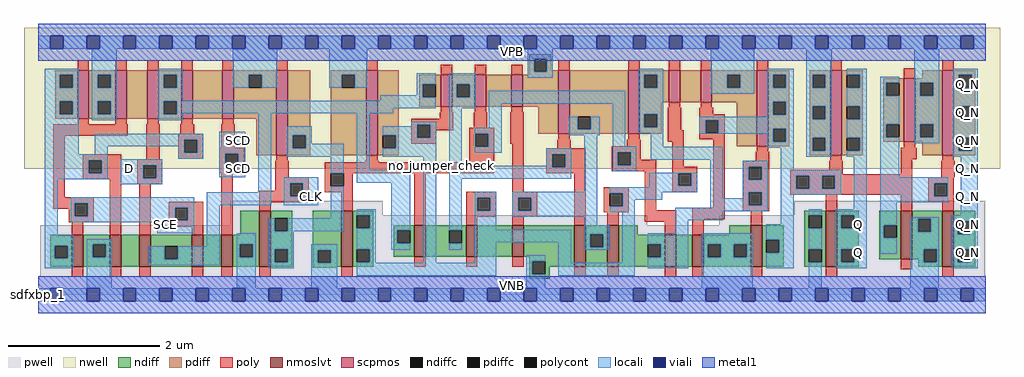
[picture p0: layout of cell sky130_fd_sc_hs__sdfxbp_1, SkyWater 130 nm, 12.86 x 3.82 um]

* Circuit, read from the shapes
.subckt sky130_fd_sc_hs__sdfxbp_1 CLK D SCD SCE VGND VNB VPB VPWR Q Q_N
XM1 VGND SCE n1 VNB sky130_fd_pr__nfet_01v8_lvt w=0.42 l=0.15
XM2 n2 n1 VGND VNB sky130_fd_pr__nfet_01v8_lvt w=0.42 l=0.15
XM3 n3 D n2 VNB sky130_fd_pr__nfet_01v8_lvt w=0.42 l=0.15
XM4 n4 SCE n3 VNB sky130_fd_pr__nfet_01v8_lvt w=0.42 l=0.15
XM5 VGND SCD n4 VNB sky130_fd_pr__nfet_01v8_lvt w=0.42 l=0.15
XM6 n5 CLK VGND VNB sky130_fd_pr__nfet_01v8_lvt w=0.74 l=0.15
XM7 n6 n5 VGND VNB sky130_fd_pr__nfet_01v8_lvt w=0.74 l=0.15
XM8 n7 n5 n3 VNB sky130_fd_pr__nfet_01v8_lvt w=0.42 l=0.15
XM9 n8 n6 n7 VNB sky130_fd_pr__nfet_01v8_lvt w=0.42 l=0.15
XM10 VGND n9 n8 VNB sky130_fd_pr__nfet_01v8_lvt w=0.42 l=0.15
XM11 n9 n7 VGND VNB sky130_fd_pr__nfet_01v8_lvt w=0.55 l=0.15
XM12 n10 n6 n9 VNB sky130_fd_pr__nfet_01v8_lvt w=0.55 l=0.15
XM13 n11 n5 n10 VNB sky130_fd_pr__nfet_01v8_lvt w=0.42 l=0.15
XM14 VGND n12 n11 VNB sky130_fd_pr__nfet_01v8_lvt w=0.42 l=0.15
XM15 n12 n10 VGND VNB sky130_fd_pr__nfet_01v8_lvt w=0.55 l=0.15
XM16 Q n12 VGND VNB sky130_fd_pr__nfet_01v8_lvt w=0.74 l=0.15
XM17 VGND n12 n13 VNB sky130_fd_pr__nfet_01v8_lvt w=0.64 l=0.15
XM18 Q_N n13 VGND VNB sky130_fd_pr__nfet_01v8_lvt w=0.74 l=0.15
XM19 VPWR SCE n1 VPB sky130_fd_pr__pfet_01v8 w=0.64 l=0.15
XM20 n14 SCE VPWR VPB sky130_fd_pr__pfet_01v8 w=0.64 l=0.15
XM21 n3 D n14 VPB sky130_fd_pr__pfet_01v8 w=0.64 l=0.15
XM22 n15 n1 n3 VPB sky130_fd_pr__pfet_01v8 w=0.64 l=0.15
XM23 VPWR SCD n15 VPB sky130_fd_pr__pfet_01v8 w=0.64 l=0.15
XM24 n5 CLK VPWR VPB sky130_fd_pr__pfet_01v8 w=1.12 l=0.15
XM25 n6 n5 VPWR VPB sky130_fd_pr__pfet_01v8 w=1.12 l=0.15
XM26 n7 n6 n3 VPB sky130_fd_pr__pfet_01v8 w=0.42 l=0.15
XM27 n16 n5 n7 VPB sky130_fd_pr__pfet_01v8 w=0.42 l=0.15
XM28 VPWR n9 n16 VPB sky130_fd_pr__pfet_01v8 w=0.42 l=0.15
XM29 n9 n7 VPWR VPB sky130_fd_pr__pfet_01v8 w=0.84 l=0.15
XM30 n10 n5 n9 VPB sky130_fd_pr__pfet_01v8 w=0.84 l=0.15
XM31 n17 n6 n10 VPB sky130_fd_pr__pfet_01v8 w=0.42 l=0.15
XM32 VPWR n12 n17 VPB sky130_fd_pr__pfet_01v8 w=0.42 l=0.15
XM33 n12 n10 VPWR VPB sky130_fd_pr__pfet_01v8 w=1 l=0.15
XM34 Q n12 VPWR VPB sky130_fd_pr__pfet_01v8 w=1.12 l=0.15
XM35 VPWR n12 n13 VPB sky130_fd_pr__pfet_01v8 w=0.84 l=0.15
XM36 Q_N n13 VPWR VPB sky130_fd_pr__pfet_01v8 w=1.12 l=0.15
.ends

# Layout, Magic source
magic
tech sky130A
magscale 1 2
<< nwell >>
rect -38 332 2534 704
<< pwell >>
rect 506 210 908 248
rect 1992 210 2495 248
rect 506 184 1605 210
rect 1794 184 2495 210
rect 5 49 2495 184
rect 0 0 2496 49
<< scpmos >>
rect 103 464 133 592
rect 203 464 233 592
rect 287 464 317 592
rect 377 464 407 592
rect 485 464 515 592
rect 627 368 657 592
rect 864 368 894 592
rect 1060 496 1090 580
rect 1150 496 1180 580
rect 1246 496 1276 580
rect 1370 424 1400 592
rect 1554 424 1584 592
rect 1661 508 1691 592
rect 1745 508 1775 592
rect 1893 392 1923 592
rect 2087 368 2117 592
rect 2281 403 2311 571
rect 2382 368 2412 592
<< nmoslvt >>
rect 88 74 118 158
rect 188 74 218 158
rect 266 74 296 158
rect 404 74 434 158
rect 482 74 512 158
rect 582 74 612 222
rect 798 74 828 222
rect 991 100 1021 184
rect 1127 100 1157 184
rect 1249 100 1279 184
rect 1412 74 1442 184
rect 1499 74 1529 184
rect 1651 74 1681 158
rect 1723 74 1753 158
rect 1877 74 1907 184
rect 2075 74 2105 222
rect 2273 94 2303 222
rect 2382 74 2412 222
<< ndiff >>
rect 532 158 582 222
rect 31 130 88 158
rect 31 96 43 130
rect 77 96 88 130
rect 31 74 88 96
rect 118 133 188 158
rect 118 99 143 133
rect 177 99 188 133
rect 118 74 188 99
rect 218 74 266 158
rect 296 128 404 158
rect 296 94 333 128
rect 367 94 404 128
rect 296 74 404 94
rect 434 74 482 158
rect 512 133 582 158
rect 512 99 531 133
rect 565 99 582 133
rect 512 74 582 99
rect 612 202 669 222
rect 612 168 623 202
rect 657 168 669 202
rect 612 120 669 168
rect 612 86 623 120
rect 657 86 669 120
rect 612 74 669 86
rect 723 118 798 222
rect 723 84 736 118
rect 770 84 798 118
rect 723 74 798 84
rect 828 210 882 222
rect 828 176 839 210
rect 873 176 882 210
rect 828 120 882 176
rect 828 86 839 120
rect 873 86 882 120
rect 936 170 991 184
rect 936 136 946 170
rect 980 136 991 170
rect 936 100 991 136
rect 1021 170 1127 184
rect 1021 136 1082 170
rect 1116 136 1127 170
rect 1021 100 1127 136
rect 1157 100 1249 184
rect 1279 100 1412 184
rect 828 74 882 86
rect 1294 88 1412 100
rect 723 72 783 74
rect 1294 54 1302 88
rect 1336 74 1412 88
rect 1442 160 1499 184
rect 1442 126 1454 160
rect 1488 126 1499 160
rect 1442 74 1499 126
rect 1529 158 1579 184
rect 2018 210 2075 222
rect 1820 158 1877 184
rect 1529 133 1651 158
rect 1529 99 1606 133
rect 1640 99 1651 133
rect 1529 74 1651 99
rect 1681 74 1723 158
rect 1753 133 1877 158
rect 1753 99 1764 133
rect 1798 99 1832 133
rect 1866 99 1877 133
rect 1753 74 1877 99
rect 1907 145 1964 184
rect 1907 111 1918 145
rect 1952 111 1964 145
rect 1907 74 1964 111
rect 2018 176 2030 210
rect 2064 176 2075 210
rect 2018 120 2075 176
rect 2018 86 2030 120
rect 2064 86 2075 120
rect 2018 74 2075 86
rect 2105 210 2162 222
rect 2105 176 2116 210
rect 2150 176 2162 210
rect 2105 120 2162 176
rect 2105 86 2116 120
rect 2150 86 2162 120
rect 2216 184 2273 222
rect 2216 150 2228 184
rect 2262 150 2273 184
rect 2216 94 2273 150
rect 2303 200 2382 222
rect 2303 166 2318 200
rect 2352 166 2382 200
rect 2303 120 2382 166
rect 2303 94 2333 120
rect 2105 74 2162 86
rect 1336 54 1348 74
rect 1294 42 1348 54
rect 2318 86 2333 94
rect 2367 86 2382 120
rect 2318 74 2382 86
rect 2412 194 2469 222
rect 2412 160 2423 194
rect 2457 160 2469 194
rect 2412 120 2469 160
rect 2412 86 2423 120
rect 2457 86 2469 120
rect 2412 74 2469 86
<< pdiff >>
rect 1294 622 1352 634
rect 44 580 103 592
rect 44 546 56 580
rect 90 546 103 580
rect 44 510 103 546
rect 44 476 56 510
rect 90 476 103 510
rect 44 464 103 476
rect 133 580 203 592
rect 133 546 156 580
rect 190 546 203 580
rect 133 510 203 546
rect 133 476 156 510
rect 190 476 203 510
rect 133 464 203 476
rect 233 464 287 592
rect 317 580 377 592
rect 317 546 330 580
rect 364 546 377 580
rect 317 510 377 546
rect 317 476 330 510
rect 364 476 377 510
rect 317 464 377 476
rect 407 464 485 592
rect 515 580 627 592
rect 515 546 554 580
rect 588 546 627 580
rect 515 464 627 546
rect 574 368 627 464
rect 657 421 716 592
rect 657 387 670 421
rect 704 387 716 421
rect 657 368 716 387
rect 770 580 864 592
rect 770 546 799 580
rect 833 546 864 580
rect 770 368 864 546
rect 894 421 950 592
rect 1294 588 1306 622
rect 1340 592 1352 622
rect 1340 588 1370 592
rect 1294 580 1370 588
rect 1004 555 1060 580
rect 1004 521 1013 555
rect 1047 521 1060 555
rect 1004 496 1060 521
rect 1090 555 1150 580
rect 1090 521 1103 555
rect 1137 521 1150 555
rect 1090 496 1150 521
rect 1180 496 1246 580
rect 1276 496 1370 580
rect 894 387 907 421
rect 941 387 950 421
rect 894 368 950 387
rect 1317 424 1370 496
rect 1400 470 1554 592
rect 1400 436 1421 470
rect 1455 436 1554 470
rect 1400 424 1554 436
rect 1584 580 1661 592
rect 1584 546 1597 580
rect 1631 546 1661 580
rect 1584 508 1661 546
rect 1691 508 1745 592
rect 1775 580 1893 592
rect 1775 546 1815 580
rect 1849 546 1893 580
rect 1775 508 1893 546
rect 1584 476 1643 508
rect 1584 442 1597 476
rect 1631 442 1643 476
rect 1584 424 1643 442
rect 1840 392 1893 508
rect 1923 580 1978 592
rect 1923 546 1936 580
rect 1970 546 1978 580
rect 1923 509 1978 546
rect 1923 475 1936 509
rect 1970 475 1978 509
rect 1923 438 1978 475
rect 1923 404 1936 438
rect 1970 404 1978 438
rect 1923 392 1978 404
rect 2032 580 2087 592
rect 2032 546 2040 580
rect 2074 546 2087 580
rect 2032 497 2087 546
rect 2032 463 2040 497
rect 2074 463 2087 497
rect 2032 414 2087 463
rect 2032 380 2040 414
rect 2074 380 2087 414
rect 2032 368 2087 380
rect 2117 580 2172 592
rect 2117 546 2130 580
rect 2164 546 2172 580
rect 2329 571 2382 592
rect 2117 497 2172 546
rect 2117 463 2130 497
rect 2164 463 2172 497
rect 2117 414 2172 463
rect 2117 380 2130 414
rect 2164 380 2172 414
rect 2226 559 2281 571
rect 2226 525 2234 559
rect 2268 525 2281 559
rect 2226 449 2281 525
rect 2226 415 2234 449
rect 2268 415 2281 449
rect 2226 403 2281 415
rect 2311 559 2382 571
rect 2311 525 2324 559
rect 2358 525 2382 559
rect 2311 449 2382 525
rect 2311 415 2324 449
rect 2358 415 2382 449
rect 2311 403 2382 415
rect 2117 368 2172 380
rect 2329 368 2382 403
rect 2412 580 2469 592
rect 2412 546 2425 580
rect 2459 546 2469 580
rect 2412 497 2469 546
rect 2412 463 2425 497
rect 2459 463 2469 497
rect 2412 414 2469 463
rect 2412 380 2425 414
rect 2459 380 2469 414
rect 2412 368 2469 380
<< ndiffc >>
rect 43 96 77 130
rect 143 99 177 133
rect 333 94 367 128
rect 531 99 565 133
rect 623 168 657 202
rect 623 86 657 120
rect 736 84 770 118
rect 839 176 873 210
rect 839 86 873 120
rect 946 136 980 170
rect 1082 136 1116 170
rect 1302 54 1336 88
rect 1454 126 1488 160
rect 1606 99 1640 133
rect 1764 99 1798 133
rect 1832 99 1866 133
rect 1918 111 1952 145
rect 2030 176 2064 210
rect 2030 86 2064 120
rect 2116 176 2150 210
rect 2116 86 2150 120
rect 2228 150 2262 184
rect 2318 166 2352 200
rect 2333 86 2367 120
rect 2423 160 2457 194
rect 2423 86 2457 120
<< pdiffc >>
rect 56 546 90 580
rect 56 476 90 510
rect 156 546 190 580
rect 156 476 190 510
rect 330 546 364 580
rect 330 476 364 510
rect 554 546 588 580
rect 670 387 704 421
rect 799 546 833 580
rect 1306 588 1340 622
rect 1013 521 1047 555
rect 1103 521 1137 555
rect 907 387 941 421
rect 1421 436 1455 470
rect 1597 546 1631 580
rect 1815 546 1849 580
rect 1597 442 1631 476
rect 1936 546 1970 580
rect 1936 475 1970 509
rect 1936 404 1970 438
rect 2040 546 2074 580
rect 2040 463 2074 497
rect 2040 380 2074 414
rect 2130 546 2164 580
rect 2130 463 2164 497
rect 2130 380 2164 414
rect 2234 525 2268 559
rect 2234 415 2268 449
rect 2324 525 2358 559
rect 2324 415 2358 449
rect 2425 546 2459 580
rect 2425 463 2459 497
rect 2425 380 2459 414
<< poly >>
rect 103 592 133 618
rect 203 592 233 618
rect 287 592 317 618
rect 377 592 407 618
rect 485 592 515 618
rect 627 592 657 618
rect 864 592 894 618
rect 103 449 133 464
rect 203 449 233 464
rect 287 449 317 464
rect 377 449 407 464
rect 485 449 515 464
rect 39 419 236 449
rect 39 257 69 419
rect 117 355 218 371
rect 284 357 320 449
rect 374 425 410 449
rect 368 409 434 425
rect 368 375 384 409
rect 418 375 434 409
rect 482 388 518 449
rect 368 359 434 375
rect 476 372 542 388
rect 117 321 133 355
rect 167 321 218 355
rect 117 305 218 321
rect 39 241 146 257
rect 39 227 96 241
rect 80 207 96 227
rect 130 207 146 241
rect 80 191 146 207
rect 88 158 118 191
rect 188 158 218 305
rect 260 341 326 357
rect 260 307 276 341
rect 310 307 326 341
rect 476 338 492 372
rect 526 338 542 372
rect 1060 580 1090 606
rect 1150 580 1180 606
rect 1246 580 1276 606
rect 1370 592 1400 618
rect 1554 592 1584 618
rect 1661 592 1691 618
rect 1745 592 1775 618
rect 1893 592 1923 618
rect 2087 592 2117 618
rect 1060 481 1090 496
rect 1150 481 1180 496
rect 1246 481 1276 496
rect 1057 464 1093 481
rect 982 448 1093 464
rect 982 414 998 448
rect 1032 434 1093 448
rect 1147 440 1183 481
rect 1032 414 1048 434
rect 982 398 1048 414
rect 1135 424 1201 440
rect 1135 390 1151 424
rect 1185 390 1201 424
rect 1243 398 1279 481
rect 1661 493 1691 508
rect 1745 493 1775 508
rect 1658 434 1694 493
rect 1742 476 1778 493
rect 1742 460 1808 476
rect 1370 409 1400 424
rect 1554 409 1584 424
rect 627 353 657 368
rect 864 353 894 368
rect 476 322 542 338
rect 260 291 326 307
rect 266 158 296 291
rect 344 230 434 246
rect 344 196 360 230
rect 394 196 434 230
rect 344 180 434 196
rect 404 158 434 180
rect 482 158 512 322
rect 624 310 660 353
rect 861 350 897 353
rect 1135 350 1201 390
rect 755 320 1201 350
rect 624 294 713 310
rect 624 274 663 294
rect 582 260 663 274
rect 697 260 713 294
rect 755 286 771 320
rect 805 286 828 320
rect 755 270 828 286
rect 582 244 713 260
rect 582 222 612 244
rect 798 222 828 270
rect 991 184 1021 320
rect 1249 272 1279 398
rect 1367 386 1403 409
rect 1551 392 1587 409
rect 1658 404 1700 434
rect 1742 426 1758 460
rect 1792 426 1808 460
rect 1742 410 1808 426
rect 1338 370 1442 386
rect 1338 336 1354 370
rect 1388 336 1442 370
rect 1338 320 1442 336
rect 1511 376 1587 392
rect 1511 342 1527 376
rect 1561 356 1587 376
rect 1561 342 1628 356
rect 1511 326 1628 342
rect 1127 256 1207 272
rect 1127 222 1157 256
rect 1191 222 1207 256
rect 1127 206 1207 222
rect 1249 256 1315 272
rect 1249 222 1265 256
rect 1299 222 1315 256
rect 1249 206 1315 222
rect 1127 184 1157 206
rect 1249 184 1279 206
rect 1412 184 1442 320
rect 1490 268 1556 284
rect 1490 234 1506 268
rect 1540 234 1556 268
rect 1490 218 1556 234
rect 1598 223 1628 326
rect 1670 337 1700 404
rect 1670 321 1736 337
rect 1670 287 1686 321
rect 1720 287 1736 321
rect 1670 271 1736 287
rect 1778 229 1808 410
rect 1893 377 1923 392
rect 1890 354 1926 377
rect 2281 571 2311 597
rect 2382 592 2412 618
rect 2281 388 2311 403
rect 1499 184 1529 218
rect 1598 193 1681 223
rect 991 74 1021 100
rect 1127 74 1157 100
rect 1249 74 1279 100
rect 88 48 118 74
rect 188 48 218 74
rect 266 48 296 74
rect 404 48 434 74
rect 482 48 512 74
rect 582 48 612 74
rect 798 48 828 74
rect 1651 158 1681 193
rect 1723 199 1808 229
rect 1856 338 1926 354
rect 2087 353 2117 368
rect 2273 358 2314 388
rect 1856 304 1872 338
rect 1906 304 1926 338
rect 2084 330 2120 353
rect 1856 270 1926 304
rect 1856 236 1872 270
rect 1906 236 1926 270
rect 1981 318 2120 330
rect 2273 318 2303 358
rect 2382 353 2412 368
rect 1981 314 2303 318
rect 1981 280 1997 314
rect 2031 280 2065 314
rect 2099 280 2303 314
rect 2379 310 2415 353
rect 1981 264 2303 280
rect 1856 220 1926 236
rect 2075 222 2105 264
rect 2273 222 2303 264
rect 2345 294 2412 310
rect 2345 260 2361 294
rect 2395 260 2412 294
rect 2345 244 2412 260
rect 2382 222 2412 244
rect 1723 158 1753 199
rect 1877 184 1907 220
rect 1412 48 1442 74
rect 1499 48 1529 74
rect 1651 48 1681 74
rect 1723 48 1753 74
rect 1877 48 1907 74
rect 2075 48 2105 74
rect 2273 68 2303 94
rect 2382 48 2412 74
<< polycont >>
rect 384 375 418 409
rect 133 321 167 355
rect 96 207 130 241
rect 276 307 310 341
rect 492 338 526 372
rect 998 414 1032 448
rect 1151 390 1185 424
rect 360 196 394 230
rect 663 260 697 294
rect 771 286 805 320
rect 1758 426 1792 460
rect 1354 336 1388 370
rect 1527 342 1561 376
rect 1157 222 1191 256
rect 1265 222 1299 256
rect 1506 234 1540 268
rect 1686 287 1720 321
rect 1872 304 1906 338
rect 1872 236 1906 270
rect 1997 280 2031 314
rect 2065 280 2099 314
rect 2361 260 2395 294
<< locali >>
rect 0 649 31 683
rect 65 649 127 683
rect 161 649 223 683
rect 257 649 319 683
rect 353 649 415 683
rect 449 649 511 683
rect 545 649 607 683
rect 641 649 703 683
rect 737 649 799 683
rect 833 649 895 683
rect 929 649 991 683
rect 1025 649 1087 683
rect 1121 649 1183 683
rect 1217 649 1279 683
rect 1313 649 1375 683
rect 1409 649 1471 683
rect 1505 649 1567 683
rect 1601 649 1663 683
rect 1697 649 1759 683
rect 1793 649 1855 683
rect 1889 649 1951 683
rect 1985 649 2047 683
rect 2081 649 2143 683
rect 2177 649 2239 683
rect 2273 649 2335 683
rect 2369 649 2431 683
rect 2465 649 2496 683
rect 17 580 106 596
rect 17 546 56 580
rect 90 546 106 580
rect 17 510 106 546
rect 17 476 56 510
rect 90 476 106 510
rect 17 371 106 476
rect 140 580 206 649
rect 140 546 156 580
rect 190 546 206 580
rect 140 510 206 546
rect 140 476 156 510
rect 190 476 206 510
rect 140 460 206 476
rect 314 580 380 596
rect 314 546 330 580
rect 364 546 380 580
rect 512 580 630 649
rect 512 546 554 580
rect 588 546 630 580
rect 766 580 867 649
rect 1290 622 1356 649
rect 1290 588 1306 622
rect 1340 588 1356 622
rect 766 546 799 580
rect 833 546 867 580
rect 997 555 1047 584
rect 314 512 380 546
rect 997 526 1013 555
rect 901 521 1013 526
rect 901 512 1047 521
rect 314 510 1047 512
rect 314 476 330 510
rect 364 492 1047 510
rect 1082 555 1153 584
rect 1290 572 1356 588
rect 1581 580 1647 596
rect 1082 521 1103 555
rect 1137 521 1153 555
rect 1581 546 1597 580
rect 1631 546 1647 580
rect 1082 492 1153 521
rect 1187 504 1547 538
rect 364 478 935 492
rect 364 476 380 478
rect 314 460 380 476
rect 149 409 434 425
rect 149 391 384 409
rect 149 371 183 391
rect 17 355 183 371
rect 368 375 384 391
rect 418 375 434 409
rect 368 359 434 375
rect 476 372 545 430
rect 17 321 133 355
rect 167 321 183 355
rect 17 305 183 321
rect 217 341 326 357
rect 217 307 276 341
rect 310 307 326 341
rect 476 338 492 372
rect 526 338 545 372
rect 476 310 545 338
rect 17 157 51 305
rect 217 291 326 307
rect 579 270 613 478
rect 654 421 720 444
rect 654 387 670 421
rect 704 398 720 421
rect 704 387 805 398
rect 654 364 805 387
rect 771 320 805 364
rect 85 241 410 257
rect 85 207 96 241
rect 130 230 410 241
rect 130 207 360 230
rect 85 196 360 207
rect 394 196 410 230
rect 85 191 410 196
rect 313 162 410 191
rect 444 236 613 270
rect 647 294 737 310
rect 647 260 663 294
rect 697 260 737 294
rect 647 236 737 260
rect 839 330 873 478
rect 982 448 1048 456
rect 982 444 998 448
rect 907 421 998 444
rect 941 414 998 421
rect 1032 414 1048 448
rect 941 387 1048 414
rect 907 364 1048 387
rect 839 296 980 330
rect 17 130 93 157
rect 17 96 43 130
rect 77 96 93 130
rect 17 70 93 96
rect 127 133 193 146
rect 127 99 143 133
rect 177 99 193 133
rect 444 128 478 236
rect 771 202 805 286
rect 607 168 623 202
rect 657 168 805 202
rect 839 210 889 226
rect 873 176 889 210
rect 127 17 193 99
rect 291 94 333 128
rect 367 94 478 128
rect 291 78 478 94
rect 523 133 573 162
rect 523 99 531 133
rect 565 99 573 133
rect 523 17 573 99
rect 607 120 673 168
rect 607 86 623 120
rect 657 86 673 120
rect 607 70 673 86
rect 719 118 787 134
rect 719 84 736 118
rect 770 84 787 118
rect 719 17 787 84
rect 839 120 889 176
rect 873 86 889 120
rect 930 170 980 296
rect 930 136 946 170
rect 930 119 980 136
rect 839 85 889 86
rect 1014 85 1048 364
rect 1082 340 1116 492
rect 1187 440 1221 504
rect 1150 424 1221 440
rect 1150 390 1151 424
rect 1185 390 1221 424
rect 1397 436 1421 470
rect 1455 436 1479 470
rect 1397 420 1479 436
rect 1150 374 1221 390
rect 1338 370 1404 386
rect 1338 340 1354 370
rect 1082 336 1354 340
rect 1388 336 1404 370
rect 1082 306 1404 336
rect 1082 170 1116 306
rect 1438 272 1472 420
rect 1513 392 1547 504
rect 1581 476 1647 546
rect 1772 580 1886 649
rect 1772 546 1815 580
rect 1849 546 1886 580
rect 1772 530 1886 546
rect 1920 580 1990 596
rect 1920 546 1936 580
rect 1970 546 1990 580
rect 1581 442 1597 476
rect 1631 442 1647 476
rect 1920 509 1990 546
rect 1920 475 1936 509
rect 1970 475 1990 509
rect 1920 470 1990 475
rect 1581 426 1647 442
rect 1513 376 1576 392
rect 1513 342 1527 376
rect 1561 342 1576 376
rect 1613 390 1647 426
rect 1742 460 1990 470
rect 1742 426 1758 460
rect 1792 438 1990 460
rect 1792 426 1936 438
rect 1742 424 1936 426
rect 1920 404 1936 424
rect 1970 404 1990 438
rect 1613 356 1804 390
rect 1920 388 1990 404
rect 1513 326 1576 342
rect 1610 321 1736 322
rect 1610 287 1686 321
rect 1720 287 1736 321
rect 1610 284 1736 287
rect 1082 119 1116 136
rect 1150 256 1207 272
rect 1150 222 1157 256
rect 1191 222 1207 256
rect 1150 172 1207 222
rect 1249 256 1472 272
rect 1249 222 1265 256
rect 1299 222 1472 256
rect 1249 206 1472 222
rect 1506 271 1736 284
rect 1506 268 1644 271
rect 1540 250 1644 268
rect 1770 254 1804 356
rect 1856 338 1922 354
rect 1856 304 1872 338
rect 1906 304 1922 338
rect 1856 270 1922 304
rect 1856 254 1872 270
rect 1540 234 1572 250
rect 1506 218 1572 234
rect 1770 236 1872 254
rect 1906 236 1922 270
rect 1770 230 1922 236
rect 1438 184 1472 206
rect 1150 138 1404 172
rect 1150 85 1207 138
rect 839 51 1207 85
rect 1286 88 1336 104
rect 1286 54 1302 88
rect 1286 17 1336 54
rect 1370 85 1404 138
rect 1438 160 1504 184
rect 1438 126 1454 160
rect 1488 126 1504 160
rect 1438 119 1504 126
rect 1538 85 1572 218
rect 1678 220 1922 230
rect 1956 330 1990 388
rect 2024 580 2090 649
rect 2024 546 2040 580
rect 2074 546 2090 580
rect 2024 497 2090 546
rect 2024 463 2040 497
rect 2074 463 2090 497
rect 2024 414 2090 463
rect 2024 380 2040 414
rect 2074 380 2090 414
rect 2024 364 2090 380
rect 2130 580 2183 596
rect 2164 546 2183 580
rect 2130 497 2183 546
rect 2164 463 2183 497
rect 2130 414 2183 463
rect 2164 380 2183 414
rect 2130 364 2183 380
rect 1956 314 2115 330
rect 1956 280 1997 314
rect 2031 280 2065 314
rect 2099 280 2115 314
rect 1956 264 2115 280
rect 1678 196 1804 220
rect 1678 162 1712 196
rect 1956 186 1990 264
rect 2149 226 2183 364
rect 1370 51 1572 85
rect 1606 133 1712 162
rect 1640 99 1712 133
rect 1606 70 1712 99
rect 1748 133 1882 162
rect 1748 99 1764 133
rect 1798 99 1832 133
rect 1866 99 1882 133
rect 1748 17 1882 99
rect 1918 145 1990 186
rect 1952 111 1990 145
rect 1918 70 1990 111
rect 2030 210 2064 226
rect 2030 120 2064 176
rect 2030 17 2064 86
rect 2100 210 2183 226
rect 2100 176 2116 210
rect 2150 176 2183 210
rect 2100 120 2183 176
rect 2100 86 2116 120
rect 2150 86 2183 120
rect 2218 559 2268 575
rect 2218 525 2234 559
rect 2218 449 2268 525
rect 2218 415 2234 449
rect 2218 310 2268 415
rect 2308 559 2374 649
rect 2308 525 2324 559
rect 2358 525 2374 559
rect 2308 449 2374 525
rect 2308 415 2324 449
rect 2358 415 2374 449
rect 2308 399 2374 415
rect 2409 580 2475 596
rect 2409 546 2425 580
rect 2459 546 2475 580
rect 2409 497 2475 546
rect 2409 463 2425 497
rect 2459 463 2475 497
rect 2409 414 2475 463
rect 2409 380 2425 414
rect 2459 380 2475 414
rect 2409 364 2475 380
rect 2218 294 2397 310
rect 2218 260 2361 294
rect 2395 260 2397 294
rect 2218 244 2397 260
rect 2218 184 2262 244
rect 2431 210 2475 364
rect 2218 150 2228 184
rect 2218 108 2262 150
rect 2298 200 2373 204
rect 2298 166 2318 200
rect 2352 166 2373 200
rect 2298 120 2373 166
rect 2100 70 2183 86
rect 2298 86 2333 120
rect 2367 86 2373 120
rect 2298 17 2373 86
rect 2407 194 2475 210
rect 2407 160 2423 194
rect 2457 160 2475 194
rect 2407 120 2475 160
rect 2407 86 2423 120
rect 2457 86 2475 120
rect 2407 70 2475 86
rect 0 -17 31 17
rect 65 -17 127 17
rect 161 -17 223 17
rect 257 -17 319 17
rect 353 -17 415 17
rect 449 -17 511 17
rect 545 -17 607 17
rect 641 -17 703 17
rect 737 -17 799 17
rect 833 -17 895 17
rect 929 -17 991 17
rect 1025 -17 1087 17
rect 1121 -17 1183 17
rect 1217 -17 1279 17
rect 1313 -17 1375 17
rect 1409 -17 1471 17
rect 1505 -17 1567 17
rect 1601 -17 1663 17
rect 1697 -17 1759 17
rect 1793 -17 1855 17
rect 1889 -17 1951 17
rect 1985 -17 2047 17
rect 2081 -17 2143 17
rect 2177 -17 2239 17
rect 2273 -17 2335 17
rect 2369 -17 2431 17
rect 2465 -17 2496 17
<< viali >>
rect 31 649 65 683
rect 127 649 161 683
rect 223 649 257 683
rect 319 649 353 683
rect 415 649 449 683
rect 511 649 545 683
rect 607 649 641 683
rect 703 649 737 683
rect 799 649 833 683
rect 895 649 929 683
rect 991 649 1025 683
rect 1087 649 1121 683
rect 1183 649 1217 683
rect 1279 649 1313 683
rect 1375 649 1409 683
rect 1471 649 1505 683
rect 1567 649 1601 683
rect 1663 649 1697 683
rect 1759 649 1793 683
rect 1855 649 1889 683
rect 1951 649 1985 683
rect 2047 649 2081 683
rect 2143 649 2177 683
rect 2239 649 2273 683
rect 2335 649 2369 683
rect 2431 649 2465 683
rect 31 -17 65 17
rect 127 -17 161 17
rect 223 -17 257 17
rect 319 -17 353 17
rect 415 -17 449 17
rect 511 -17 545 17
rect 607 -17 641 17
rect 703 -17 737 17
rect 799 -17 833 17
rect 895 -17 929 17
rect 991 -17 1025 17
rect 1087 -17 1121 17
rect 1183 -17 1217 17
rect 1279 -17 1313 17
rect 1375 -17 1409 17
rect 1471 -17 1505 17
rect 1567 -17 1601 17
rect 1663 -17 1697 17
rect 1759 -17 1793 17
rect 1855 -17 1889 17
rect 1951 -17 1985 17
rect 2047 -17 2081 17
rect 2143 -17 2177 17
rect 2239 -17 2273 17
rect 2335 -17 2369 17
rect 2431 -17 2465 17
<< metal1 >>
rect 0 683 2496 715
rect 0 649 31 683
rect 65 649 127 683
rect 161 649 223 683
rect 257 649 319 683
rect 353 649 415 683
rect 449 649 511 683
rect 545 649 607 683
rect 641 649 703 683
rect 737 649 799 683
rect 833 649 895 683
rect 929 649 991 683
rect 1025 649 1087 683
rect 1121 649 1183 683
rect 1217 649 1279 683
rect 1313 649 1375 683
rect 1409 649 1471 683
rect 1505 649 1567 683
rect 1601 649 1663 683
rect 1697 649 1759 683
rect 1793 649 1855 683
rect 1889 649 1951 683
rect 1985 649 2047 683
rect 2081 649 2143 683
rect 2177 649 2239 683
rect 2273 649 2335 683
rect 2369 649 2431 683
rect 2465 649 2496 683
rect 0 617 2496 649
rect 0 17 2496 49
rect 0 -17 31 17
rect 65 -17 127 17
rect 161 -17 223 17
rect 257 -17 319 17
rect 353 -17 415 17
rect 449 -17 511 17
rect 545 -17 607 17
rect 641 -17 703 17
rect 737 -17 799 17
rect 833 -17 895 17
rect 929 -17 991 17
rect 1025 -17 1087 17
rect 1121 -17 1183 17
rect 1217 -17 1279 17
rect 1313 -17 1375 17
rect 1409 -17 1471 17
rect 1505 -17 1567 17
rect 1601 -17 1663 17
rect 1697 -17 1759 17
rect 1793 -17 1855 17
rect 1889 -17 1951 17
rect 1985 -17 2047 17
rect 2081 -17 2143 17
rect 2177 -17 2239 17
rect 2273 -17 2335 17
rect 2369 -17 2431 17
rect 2465 -17 2496 17
rect 0 -49 2496 -17
<< labels >>
rlabel comment s 0 0 0 0 4 sdfxbp_1
flabel comment s 1061 341 1061 341 0 FreeSans 200 0 0 0 no_jumper_check
flabel pwell s 0 0 2496 49 0 FreeSans 200 0 0 0 VNB
port 6 nsew ground bidirectional
flabel nwell s 0 617 2496 666 0 FreeSans 200 0 0 0 VPB
port 7 nsew power bidirectional
flabel metal1 s 0 617 2496 666 0 FreeSans 340 0 0 0 VPWR
port 8 nsew power bidirectional
flabel metal1 s 0 0 2496 49 0 FreeSans 340 0 0 0 VGND
port 5 nsew ground bidirectional
flabel locali s 2431 94 2465 128 0 FreeSans 340 0 0 0 Q_N
port 10 nsew signal output
flabel locali s 2431 168 2465 202 0 FreeSans 340 0 0 0 Q_N
port 10 nsew signal output
flabel locali s 2431 242 2465 276 0 FreeSans 340 0 0 0 Q_N
port 10 nsew signal output
flabel locali s 2431 316 2465 350 0 FreeSans 340 0 0 0 Q_N
port 10 nsew signal output
flabel locali s 2431 390 2465 424 0 FreeSans 340 0 0 0 Q_N
port 10 nsew signal output
flabel locali s 2431 464 2465 498 0 FreeSans 340 0 0 0 Q_N
port 10 nsew signal output
flabel locali s 2431 538 2465 572 0 FreeSans 340 0 0 0 Q_N
port 10 nsew signal output
flabel locali s 2143 94 2177 128 0 FreeSans 340 0 0 0 Q
port 9 nsew signal output
flabel locali s 2143 168 2177 202 0 FreeSans 340 0 0 0 Q
port 9 nsew signal output
flabel locali s 703 242 737 276 0 FreeSans 340 0 0 0 CLK
port 1 nsew clock input
flabel locali s 223 316 257 350 0 FreeSans 340 0 0 0 D
port 2 nsew signal input
flabel locali s 319 168 353 202 0 FreeSans 340 0 0 0 SCE
port 4 nsew signal input
flabel locali s 511 316 545 350 0 FreeSans 340 0 0 0 SCD
port 3 nsew signal input
flabel locali s 511 390 545 424 0 FreeSans 340 0 0 0 SCD
port 3 nsew signal input
<< properties >>
string LEFsite unit
string LEFclass CORE
string FIXED_BBOX 0 0 2496 666
string GDS_FILE $PDKPATH/libs.ref/sky130_fd_sc_hs/gds/sky130_fd_sc_hs.gds
string LEFsymmetry X Y
string GDS_END 4136786
string GDS_START 4117822
<< end >>
